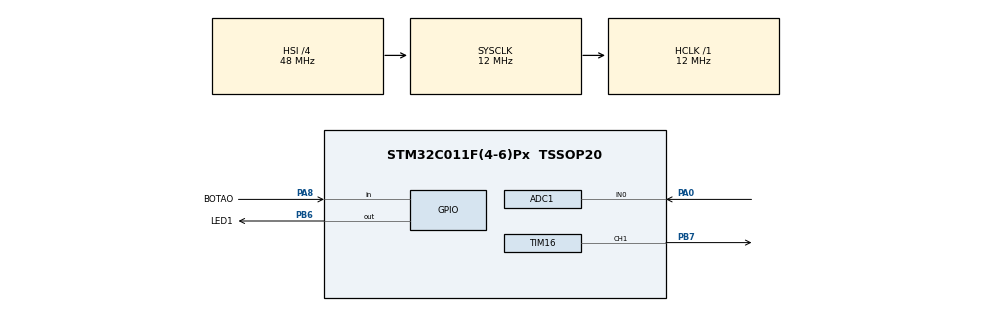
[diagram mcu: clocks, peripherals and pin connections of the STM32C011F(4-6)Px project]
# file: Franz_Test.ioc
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ADC1.ClockPrescaler=ADC_CLOCK_SYNC_PCLK_DIV1
ADC1.ContinuousConvMode=DISABLE
ADC1.DMAContinuousRequests=ENABLE
ADC1.ExternalTrigConv=ADC_EXTERNALTRIG_T3_TRGO
ADC1.NbrOfConversion=1
ADC1.NbrOfConversionFlag=0
ADC1.Overrun=ADC_OVR_DATA_PRESERVED
ADC1.Resolution=ADC_RESOLUTION_12B
ADC1.SamplingTimeCommon1=ADC_SAMPLETIME_12CYCLES_5
ADC1.SelectedChannel=ADC_CHANNEL_0
ADC1.TriggerFrequencyMode=ADC_TRIGGER_FREQ_HIGH
ADC1.master=1
Dma.ADC1.0.Direction=DMA_PERIPH_TO_MEMORY
Dma.ADC1.0.EventEnable=DISABLE
Dma.ADC1.0.Instance=DMA1_Channel2
Dma.ADC1.0.MemDataAlignment=DMA_MDATAALIGN_HALFWORD
Dma.ADC1.0.MemInc=DMA_MINC_ENABLE
Dma.ADC1.0.Mode=DMA_CIRCULAR
Dma.ADC1.0.PeriphDataAlignment=DMA_PDATAALIGN_HALFWORD
Dma.ADC1.0.PeriphInc=DMA_PINC_DISABLE
Dma.ADC1.0.Polarity=HAL_DMAMUX_REQ_GEN_RISING
Dma.ADC1.0.Priority=DMA_PRIORITY_LOW
Dma.ADC1.0.RequestNumber=1
Dma.ADC1.0.SignalID=NONE
Dma.ADC1.0.SyncEnable=DISABLE
Dma.ADC1.0.SyncPolarity=HAL_DMAMUX_SYNC_NO_EVENT
Dma.ADC1.0.SyncRequestNumber=1
Dma.ADC1.0.SyncSignalID=NONE
Dma.Request0=ADC1
Mcu.Family=STM32C0
Mcu.Name=STM32C011F(4-6)Px
Mcu.Package=TSSOP20
NVIC.ADC1_IRQn=true\:0\:0\:false\:false\:true\:true\:true\:true
NVIC.DMA1_Channel2_3_IRQn=true\:0\:0\:false\:false\:true\:false\:true\:true
PA0.Mode=IN0
PA0.Signal=ADC1_IN0
PA13.Mode=Serial_Wire
PA13.Signal=DEBUG_SWDIO
PA14-BOOT0.Mode=Serial_Wire
PA14-BOOT0.Signal=DEBUG_SWCLK
PA8.GPIO_Label=BOTAO
PA8.GPIO_PuPd=GPIO_PULLUP
PA8.Signal=GPIO_Input
PB6.GPIO_Label=LED1
PB6.Signal=GPIO_Output
PB7.Signal=S_TIM16_CH1
ProjectManager.HeapSize=0x200
ProjectManager.StackSize=0x400
ProjectManager.TargetToolchain=STM32CubeIDE
RCC.ADCFreq_Value=12000000
RCC.AHBFreq_Value=12000000
RCC.CortexFreq_Value=12000000
RCC.EXTERNAL_CLOCK_VALUE=12288000
RCC.HCLKFreq_Value=12000000
RCC.HSE_VALUE=8000000
RCC.HSI_VALUE=48000000
RCC.LSE_VALUE=32768
RCC.SYSCLKFreq_VALUE=12000000
SH.S_TIM16_CH1.0=TIM16_CH1,PWM Generation1 CH1
TIM16.AutoReloadPreload=TIM_AUTORELOAD_PRELOAD_ENABLE
TIM16.Channel=TIM_CHANNEL_1
TIM16.Period=399
TIM16.Prescaler=2
TIM16.Pulse=500
TIM3.Period=999
TIM3.Prescaler=11999
TIM3.TIM_MasterOutputTrigger=TIM_TRGO_UPDATE
VP_TIM16_VS_ClockSourceINT.Mode=Enable_Timer
VP_TIM3_VS_ClockSourceINT.Mode=Internal
board=custom

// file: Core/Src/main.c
/* USER CODE BEGIN Header */
/**
  ******************************************************************************
  * @file           : main.c
  * @brief          : Main program body
  ******************************************************************************
  * @attention
  *
  * Copyright (c) 2024 STMicroelectronics.
  * All rights reserved.
  *
  * This software is licensed under terms that can be found in the LICENSE file
  * in the root directory of this software component.
  * If no LICENSE file comes with this software, it is provided AS-IS.
  *
  ******************************************************************************
  */
/* USER CODE END Header */
#include "main.h"

/* USER CODE BEGIN Includes */
#include <math.h>
/* USER CODE END Includes */

ADC_HandleTypeDef hadc1;
DMA_HandleTypeDef hdma_adc1;

TIM_HandleTypeDef htim3;
TIM_HandleTypeDef htim16;

/* USER CODE BEGIN PV */
uint32_t adc;
float tensao;
float temperature;
float R1 = 10000;
float logR2, R2, T;
float j;
float c1 = 1.009249522e-03, c2 = 2.378405444e-04, c3 = 2.019202697e-07;

//PID VARIABLES
float Kp = 2.2;
float Ki = 0.0001;
float Kd = 0;
float Erro_Anterior = 0;
float Erro = 0;
float SetPoint = 20;
float u_gain = 1;

float P = 0;
float I = 0;
float D = 0;

float Saida = 0;
float Saida_Anterior = 0;
float Temp_Anterior = 0;
int t = 1000;

/* USER CODE END PV */

void SystemClock_Config(void);
static void MX_GPIO_Init(void);
static void MX_DMA_Init(void);
static void MX_ADC1_Init(void);
static void MX_TIM3_Init(void);
static void MX_TIM16_Init(void);

int main(void)
{

  /* MCU Configuration--------------------------------------------------------*/

  /* Reset of all peripherals, Initializes the Flash interface and the Systick. */
  HAL_Init();

  /* Configure the system clock */
  SystemClock_Config();

  /* Initialize all configured peripherals */
  MX_GPIO_Init();
  MX_DMA_Init();
  MX_ADC1_Init();
  MX_TIM3_Init();
  MX_TIM16_Init();
  /* USER CODE BEGIN 2 */
  HAL_ADCEx_Calibration_Start(&hadc1);
  HAL_ADC_Start_DMA(&hadc1, &adc, 1);
  HAL_TIM_Base_Start(&htim3);
  HAL_TIM_PWM_Start(&htim16, TIM_CHANNEL_1);

  //HAL_TIM_Base_Start(&htim3);

  /* USER CODE END 2 */

  /* Infinite loop */
  while (1)
  {

    /* USER CODE BEGIN 3 */
      if(HAL_GPIO_ReadPin(BOTAO_GPIO_Port, BOTAO_Pin)==0){ //leitura botao
          HAL_GPIO_TogglePin(GPIOB, LED1_Pin); //alterna estado pinos
          HAL_Delay(20); //20ms
      }
      //
      j = 4095/(float)adc;
      R2 = R1 * (j - 1.0);
      logR2 = log(R2);
      temperature = (1.0 / (c1 + c2*logR2 + c3*logR2*logR2*logR2));
      temperature = temperature - 273.15;
      //temperature = (T * 9.0)/ 5.0 + 32.0;
	  Erro = SetPoint - temperature;

	  P = Erro * Kp;

	  I = (Ki * (Erro + Erro_Anterior))*(t);

	  D = (Kd * (Temp_Anterior - temperature))*(t);

	  Saida = ((P+I+D)*u_gain) + Saida_Anterior;

	  //Saida = 1000 - Saida;

	  if(Saida<0)
	  {
		  Saida = 0;
		  Erro = 0;
	  }
	  else if(Saida>999)
	  {
		  Saida = 999;
		  Erro = 0;
	  }

	  TIM16->CCR1 = (uint32_t)Saida;

	  Erro_Anterior = Erro;
	  Saida_Anterior = Saida;
	  Temp_Anterior = temperature;

	  HAL_Delay(t);

  }
  /* USER CODE END 3 */
}

void SystemClock_Config(void)
{
  RCC_OscInitTypeDef RCC_OscInitStruct = {0};
  RCC_ClkInitTypeDef RCC_ClkInitStruct = {0};

  /** Initializes the RCC Oscillators according to the specified parameters
  * in the RCC_OscInitTypeDef structure.
  */
  RCC_OscInitStruct.OscillatorType = RCC_OSCILLATORTYPE_HSI;
  RCC_OscInitStruct.HSIState = RCC_HSI_ON;
  RCC_OscInitStruct.HSIDiv = RCC_HSI_DIV4;
  RCC_OscInitStruct.HSICalibrationValue = RCC_HSICALIBRATION_DEFAULT;
  if (HAL_RCC_OscConfig(&RCC_OscInitStruct) != HAL_OK)
  {
    Error_Handler();
  }

  /** Initializes the CPU, AHB and APB buses clocks
  */
  RCC_ClkInitStruct.ClockType = RCC_CLOCKTYPE_HCLK|RCC_CLOCKTYPE_SYSCLK
                              |RCC_CLOCKTYPE_PCLK1;
  RCC_ClkInitStruct.SYSCLKSource = RCC_SYSCLKSOURCE_HSI;
  RCC_ClkInitStruct.SYSCLKDivider = RCC_SYSCLK_DIV1;
  RCC_ClkInitStruct.AHBCLKDivider = RCC_HCLK_DIV1;
  RCC_ClkInitStruct.APB1CLKDivider = RCC_APB1_DIV1;

  if (HAL_RCC_ClockConfig(&RCC_ClkInitStruct, FLASH_LATENCY_0) != HAL_OK)
  {
    Error_Handler();
  }
}

static void MX_ADC1_Init(void)
{

  ADC_ChannelConfTypeDef sConfig = {0};

  /** Configure the global features of the ADC (Clock, Resolution, Data Alignment and number of conversion)
  */
  hadc1.Instance = ADC1;
  hadc1.Init.ClockPrescaler = ADC_CLOCK_SYNC_PCLK_DIV1;
  hadc1.Init.Resolution = ADC_RESOLUTION_12B;
  hadc1.Init.DataAlign = ADC_DATAALIGN_RIGHT;
  hadc1.Init.ScanConvMode = ADC_SCAN_SEQ_FIXED;
  hadc1.Init.EOCSelection = ADC_EOC_SINGLE_CONV;
  hadc1.Init.LowPowerAutoWait = DISABLE;
  hadc1.Init.LowPowerAutoPowerOff = DISABLE;
  hadc1.Init.ContinuousConvMode = DISABLE;
  hadc1.Init.NbrOfConversion = 1;
  hadc1.Init.DiscontinuousConvMode = DISABLE;
  hadc1.Init.ExternalTrigConv = ADC_EXTERNALTRIG_T3_TRGO;
  hadc1.Init.ExternalTrigConvEdge = ADC_EXTERNALTRIGCONVEDGE_RISING;
  hadc1.Init.DMAContinuousRequests = ENABLE;
  hadc1.Init.Overrun = ADC_OVR_DATA_PRESERVED;
  hadc1.Init.SamplingTimeCommon1 = ADC_SAMPLETIME_12CYCLES_5;
  hadc1.Init.OversamplingMode = DISABLE;
  hadc1.Init.TriggerFrequencyMode = ADC_TRIGGER_FREQ_HIGH;
  if (HAL_ADC_Init(&hadc1) != HAL_OK)
  {
    Error_Handler();
  }

  /** Configure Regular Channel
  */
  sConfig.Channel = ADC_CHANNEL_0;
  sConfig.Rank = ADC_RANK_CHANNEL_NUMBER;
  if (HAL_ADC_ConfigChannel(&hadc1, &sConfig) != HAL_OK)
  {
    Error_Handler();
  }

}

static void MX_TIM3_Init(void)
{

  TIM_ClockConfigTypeDef sClockSourceConfig = {0};
  TIM_MasterConfigTypeDef sMasterConfig = {0};

  htim3.Instance = TIM3;
  htim3.Init.Prescaler = 11999;
  htim3.Init.CounterMode = TIM_COUNTERMODE_UP;
  htim3.Init.Period = 999;
  htim3.Init.ClockDivision = TIM_CLOCKDIVISION_DIV1;
  htim3.Init.AutoReloadPreload = TIM_AUTORELOAD_PRELOAD_DISABLE;
  if (HAL_TIM_Base_Init(&htim3) != HAL_OK)
  {
    Error_Handler();
  }
  sClockSourceConfig.ClockSource = TIM_CLOCKSOURCE_INTERNAL;
  if (HAL_TIM_ConfigClockSource(&htim3, &sClockSourceConfig) != HAL_OK)
  {
    Error_Handler();
  }
  sMasterConfig.MasterOutputTrigger = TIM_TRGO_UPDATE;
  sMasterConfig.MasterSlaveMode = TIM_MASTERSLAVEMODE_DISABLE;
  if (HAL_TIMEx_MasterConfigSynchronization(&htim3, &sMasterConfig) != HAL_OK)
  {
    Error_Handler();
  }

}

static void MX_TIM16_Init(void)
{

  TIM_OC_InitTypeDef sConfigOC = {0};
  TIM_BreakDeadTimeConfigTypeDef sBreakDeadTimeConfig = {0};

  htim16.Instance = TIM16;
  htim16.Init.Prescaler = 2;
  htim16.Init.CounterMode = TIM_COUNTERMODE_UP;
  htim16.Init.Period = 399;
  htim16.Init.ClockDivision = TIM_CLOCKDIVISION_DIV1;
  htim16.Init.RepetitionCounter = 0;
  htim16.Init.AutoReloadPreload = TIM_AUTORELOAD_PRELOAD_ENABLE;
  if (HAL_TIM_Base_Init(&htim16) != HAL_OK)
  {
    Error_Handler();
  }
  if (HAL_TIM_PWM_Init(&htim16) != HAL_OK)
  {
    Error_Handler();
  }
  sConfigOC.OCMode = TIM_OCMODE_PWM1;
  sConfigOC.Pulse = 500;
  sConfigOC.OCPolarity = TIM_OCPOLARITY_HIGH;
  sConfigOC.OCNPolarity = TIM_OCNPOLARITY_HIGH;
  sConfigOC.OCFastMode = TIM_OCFAST_DISABLE;
  sConfigOC.OCIdleState = TIM_OCIDLESTATE_RESET;
  sConfigOC.OCNIdleState = TIM_OCNIDLESTATE_RESET;
  if (HAL_TIM_PWM_ConfigChannel(&htim16, &sConfigOC, TIM_CHANNEL_1) != HAL_OK)
  {
    Error_Handler();
  }
  sBreakDeadTimeConfig.OffStateRunMode = TIM_OSSR_DISABLE;
  sBreakDeadTimeConfig.OffStateIDLEMode = TIM_OSSI_DISABLE;
  sBreakDeadTimeConfig.LockLevel = TIM_LOCKLEVEL_OFF;
  sBreakDeadTimeConfig.DeadTime = 0;
  sBreakDeadTimeConfig.BreakState = TIM_BREAK_DISABLE;
  sBreakDeadTimeConfig.BreakPolarity = TIM_BREAKPOLARITY_HIGH;
  sBreakDeadTimeConfig.BreakFilter = 0;
  sBreakDeadTimeConfig.AutomaticOutput = TIM_AUTOMATICOUTPUT_DISABLE;
  if (HAL_TIMEx_ConfigBreakDeadTime(&htim16, &sBreakDeadTimeConfig) != HAL_OK)
  {
    Error_Handler();
  }
  HAL_TIM_MspPostInit(&htim16);

}

static void MX_DMA_Init(void)
{

  /* DMA controller clock enable */
  __HAL_RCC_DMA1_CLK_ENABLE();

  /* DMA interrupt init */
  /* DMA1_Channel2_3_IRQn interrupt configuration */
  HAL_NVIC_SetPriority(DMA1_Channel2_3_IRQn, 0, 0);
  HAL_NVIC_EnableIRQ(DMA1_Channel2_3_IRQn);

}

static void MX_GPIO_Init(void)
{
  GPIO_InitTypeDef GPIO_InitStruct = {0};

  /* GPIO Ports Clock Enable */
  __HAL_RCC_GPIOB_CLK_ENABLE();
  __HAL_RCC_GPIOA_CLK_ENABLE();

  /*Configure GPIO pin Output Level */
  HAL_GPIO_WritePin(LED1_GPIO_Port, LED1_Pin, GPIO_PIN_RESET);

  /*Configure GPIO pin : BOTAO_Pin */
  GPIO_InitStruct.Pin = BOTAO_Pin;
  GPIO_InitStruct.Mode = GPIO_MODE_INPUT;
  GPIO_InitStruct.Pull = GPIO_PULLUP;
  HAL_GPIO_Init(BOTAO_GPIO_Port, &GPIO_InitStruct);

  /*Configure GPIO pin : LED1_Pin */
  GPIO_InitStruct.Pin = LED1_Pin;
  GPIO_InitStruct.Mode = GPIO_MODE_OUTPUT_PP;
  GPIO_InitStruct.Pull = GPIO_NOPULL;
  GPIO_InitStruct.Speed = GPIO_SPEED_FREQ_LOW;
  HAL_GPIO_Init(LED1_GPIO_Port, &GPIO_InitStruct);

}

void Error_Handler(void)
{
  __disable_irq();
  while (1)
  {
  }
}
